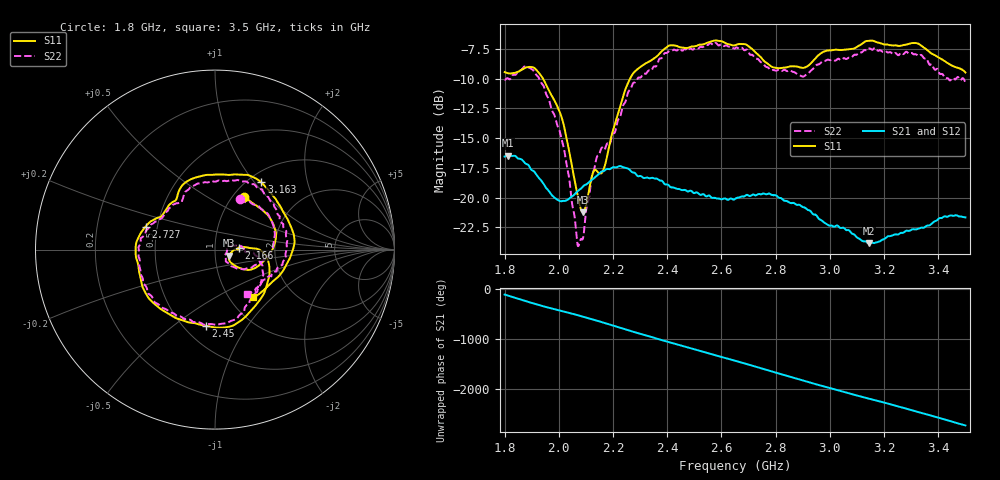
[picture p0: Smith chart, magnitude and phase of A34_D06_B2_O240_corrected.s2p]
! Created with skrf 1.9.0 (http://scikit-rf.org).
# Hz S RI R 50.0
!freq ReS11 ImS11 ReS21 ImS21 ReS12 ImS12 ReS22 ImS22
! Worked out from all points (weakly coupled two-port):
!   1601 points, 1.8 GHz to 3.5 GHz, reference 50 ohm
!   highest |S21| = -16.46 dB at 1.814 GHz (marker M1); lowest = -23.8 dB at 3.143 GHz (marker M2)
!   lowest |S11| = -21.2 dB at 2.089 GHz (marker M3), VSWR 1.19, Z = 58.5 - j4.03 ohm
!   |S11| at or under -10 dB: 1.942 GHz to 2.263 GHz (320.9 MHz wide, 15.3 % of centre)
!   |S22| runs from -24.1 to -7.0 dB; largest |S21 - S12| = 0.0024
!   S11 on the Smith chart (normalised r, x): 1.8 GHz: 1.13, +0.75; 2.166 GHz: 1.30, +0.03; 2.45 GHz: 0.64, -0.66; 2.727 GHz: 0.43, +0.13; 3.163 GHz: 1.15, +1.09; 3.5 GHz: 1.28, -0.76
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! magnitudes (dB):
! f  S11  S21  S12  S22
! 1.8 GHz  -9.4  -16.5  -16.6  -10.1
! 1.814 GHz  -9.5  -16.5  -16.5  -10.0
! 1.882 GHz  -9.0  -17.2  -17.2  -9.0
! 1.943 GHz  -10.1  -18.8  -18.8  -10.6
! 2.013 GHz  -13.4  -20.3  -20.3  -15.3
! 2.068 GHz  -19.6  -19.5  -19.5  -23.8
! 2.084 GHz  -21.1  -19.2  -19.1  -23.5
! 2.089 GHz  -21.2  -19.1  -19.1  -23.4
! 2.129 GHz  -17.7  -18.4  -18.4  -17.7
! 2.166 GHz  -17.6  -17.8  -17.7  -15.9
! 2.26 GHz  -10.1  -17.6  -17.6  -11.0
! 2.367 GHz  -8.0  -18.5  -18.4  -8.5
! 2.45 GHz  -7.4  -19.3  -19.3  -7.6
! 2.65 GHz  -7.2  -20.1  -20.1  -7.5
! 2.727 GHz  -7.8  -19.8  -19.8  -8.3
! 2.799 GHz  -9.1  -19.8  -19.8  -9.3
! 2.934 GHz  -8.6  -21.3  -21.2  -9.2
! 3.143 GHz  -6.8  -23.8  -23.7  -7.5
! 3.163 GHz  -6.8  -23.8  -23.8  -7.4
! 3.217 GHz  -7.2  -23.2  -23.2  -7.8
! 3.324 GHz  -7.0  -22.6  -22.6  -8.0
! 3.5 GHz  -9.5  -21.7  -21.6  -10.3
